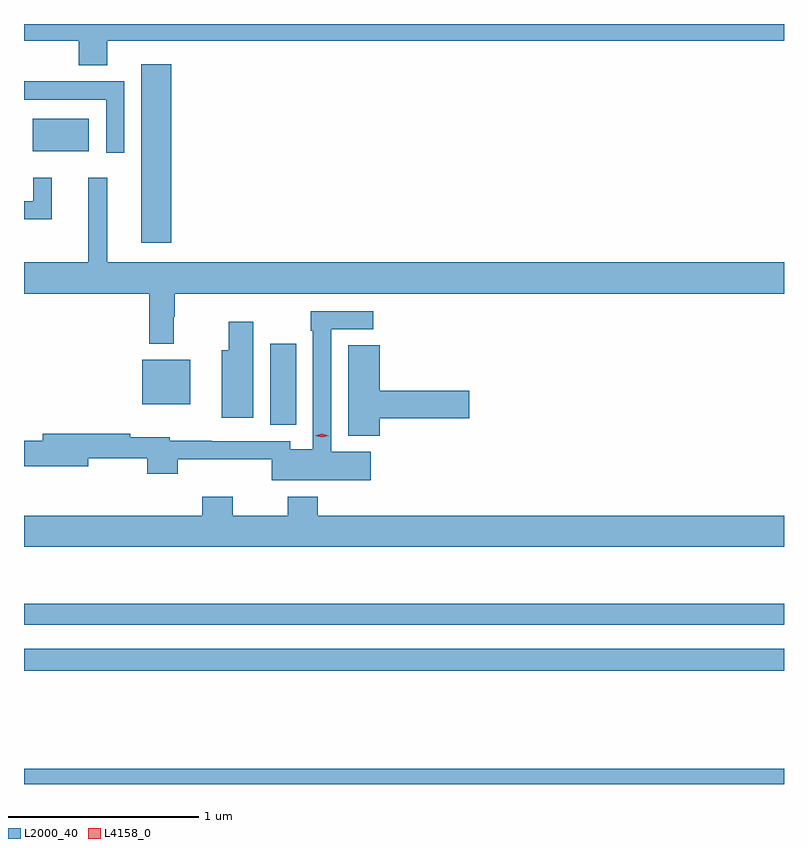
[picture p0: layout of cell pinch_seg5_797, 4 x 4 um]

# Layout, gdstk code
import gdstk
lib = gdstk.Library(unit=1e-6, precision=1e-09)
def R(c, l, rs):  # rectangles x0, y0, x1, y1
    for r in rs: c.add(gdstk.rectangle(r[:2], r[2:], *l))
def P(c, l, *ps):  # polygons
    for p in ps: c.add(gdstk.Polygon(p, *l))
L2000_40 = (2000, 40)
L4158_0 = (4158, 0)

pinch_seg5_797 = lib.new_cell('pinch_seg5_797')
R(pinch_seg5_797, L2000_40, [(780.549,903.463,784.549,903.544), (780.549,904.06,784.549,904.176), (780.549,904.302,784.549,904.411), (781.844,905.353,781.981,905.779), (781.172,905.462,781.423,905.695), (781.166,906.312,781.325,907.252), (780.596,906.794,780.889,906.964)])
P(pinch_seg5_797, L2000_40, [(780.988,907.376),(784.549,907.376),(784.549,907.463),(780.549,907.463),(780.549,907.376),(780.836,907.376),(780.836,907.246),(780.988,907.246)],
  [(781.077,907.161),(780.752,907.161),(780.752,907.163),(780.549,907.163),(780.549,907.065),(780.981,907.065),(780.981,906.786),(781.077,906.786)],
  [(781.336,905.921),(781.343,905.921),(781.343,906.044),(784.549,906.044),(784.549,906.208),(780.986,906.208),(780.986,906.655),(780.887,906.655),(780.887,906.208),(780.549,906.208),(780.549,906.044),(781.207,906.044),(781.207,905.781),(781.336,905.781)],
  [(780.695,906.655),(780.597,906.655),(780.597,906.531),(780.549,906.531),(780.549,906.435),(780.695,906.435)],
  [(782.374,905.212),(782.166,905.212),(782.166,905.856),(782.386,905.856),(782.386,905.952),(782.058,905.952),(782.058,905.849),(782.07,905.849),(782.07,905.224),(781.95,905.224),(781.95,905.268),(781.538,905.268),(781.538,905.27),(781.317,905.27),(781.317,905.287),(781.109,905.287),(781.109,905.306),(780.647,905.306),(780.647,905.27),(780.549,905.27),(780.549,905.135),(780.886,905.135),(780.886,905.178),(781.198,905.178),(781.198,905.096),(781.358,905.096),(781.358,905.171),(781.854,905.171),(781.854,905.063),(782.374,905.063)],
  [(781.756,905.896),(781.627,905.896),(781.627,905.746),(781.589,905.746),(781.589,905.39),(781.756,905.39)],
  [(782.422,905.387),(782.893,905.387),(782.893,905.534),(782.422,905.534),(782.422,905.771),(782.255,905.771),(782.255,905.297),(782.422,905.297)],
  [(784.549,904.876),(782.096,904.876),(782.096,904.975),(781.936,904.975),(781.936,904.876),(781.647,904.876),(781.647,904.975),(781.487,904.975),(781.487,904.876),(780.549,904.876),(780.549,904.712),(784.549,904.712)])
P(pinch_seg5_797, L4158_0, [(782.117,905.287),(782.083,905.297),(782.083,905.297),(782.083,905.297),(782.117,905.307),(782.152,905.296),(782.152,905.296),(782.152,905.296)])

lib.write_gds('pinch_seg5_797.gds')
